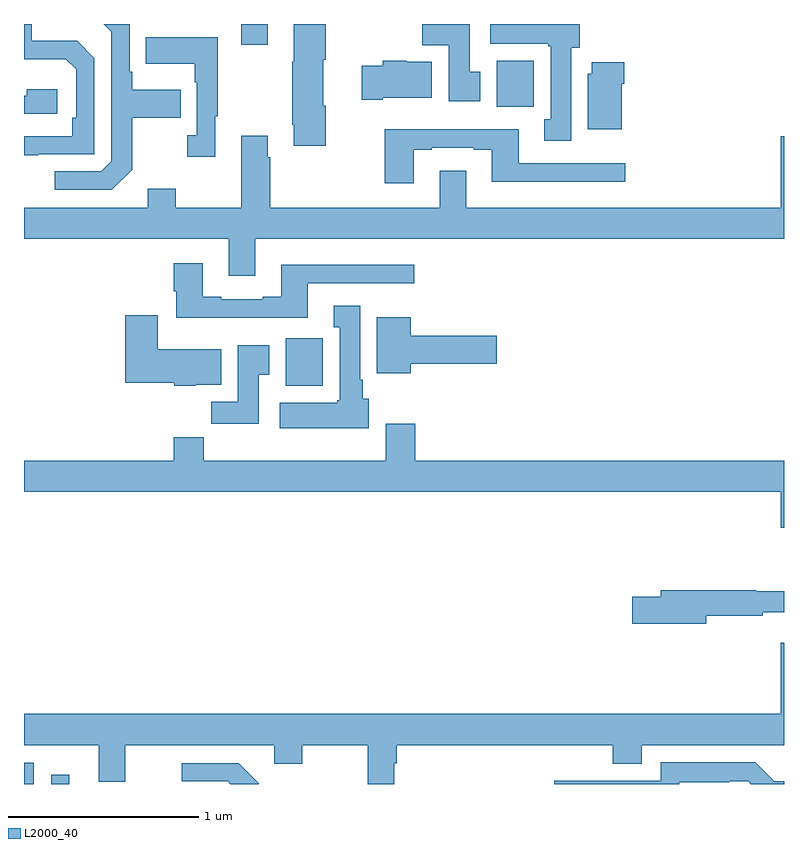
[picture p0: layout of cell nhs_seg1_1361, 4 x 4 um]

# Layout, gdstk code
import gdstk
lib = gdstk.Library(unit=1e-6, precision=1e-09)
def R(c, l, rs):  # rectangles x0, y0, x1, y1
    for r in rs: c.add(gdstk.rectangle(r[:2], r[2:], *l))
def P(c, l, *ps):  # polygons
    for p in ps: c.add(gdstk.Polygon(p, *l))
L2000_40 = (2000, 40)

nhs_seg1_1361 = lib.new_cell('nhs_seg1_1361')
R(nhs_seg1_1361, L2000_40, [(185,546.199,185.052,546.312), (185.143,546.199,185.239,546.247), (186.377,548.294,186.573,548.545), (187.487,549.764,187.684,550.006), (186.143,550.089,186.283,550.199)])
P(nhs_seg1_1361, L2000_40, [(187.879,550.074),(187.924,550.074),(187.924,550.199),(187.455,550.199),(187.455,550.094),(187.759,550.094),(187.759,550.081),(187.772,550.081),(187.772,549.698),(187.739,549.698),(187.739,549.585),(187.879,549.585)],
  [(185.569,549.433),(185.569,549.706),(185.825,549.706),(185.825,549.853),(185.569,549.853),(185.569,549.949),(185.556,549.949),(185.556,550.199),(185.419,550.199),(185.46,550.158),(185.46,549.477),(185.406,549.423),(185.163,549.423),(185.163,549.327),(185.463,549.327)],
  [(187.402,549.948),(187.345,549.948),(187.345,550.199),(187.096,550.199),(187.096,550.088),(187.235,550.088),(187.235,549.792),(187.402,549.792)],
  [(185.075,549.513),(185.37,549.513),(185.37,550.02),(185.28,550.11),(185.04,550.11),(185.04,550.199),(185,550.199),(185,550.013),(185.221,550.013),(185.274,549.96),(185.274,549.706),(185.254,549.706),(185.254,549.609),(185,549.609),(185,549.508),(185.075,549.508)],
  [(186.587,549.77),(186.574,549.77),(186.574,550.012),(186.587,550.012),(186.587,550.199),(186.419,550.199),(186.419,550.001),(186.412,550.001),(186.412,549.67),(186.419,549.67),(186.419,549.558),(186.587,549.558)],
  [(186.007,549.713),(186.019,549.713),(186.019,550.129),(185.641,550.129),(185.641,549.989),(185.898,549.989),(185.898,549.893),(185.91,549.893),(185.91,549.614),(185.859,549.614),(185.859,549.501),(186.007,549.501)],
  [(186.889,549.812),(187.147,549.812),(187.147,550),(187.014,550),(187.014,550.006),(186.889,550.006),(186.889,549.978),(186.777,549.978),(186.777,549.8),(186.889,549.8)],
  [(188.146,549.884),(188.159,549.884),(188.159,549.997),(187.988,549.997),(187.988,549.936),(187.967,549.936),(187.967,549.644),(188.146,549.644)],
  [(185.176,549.856),(185.015,549.856),(185.015,549.822),(185,549.822),(185,549.726),(185.176,549.726)],
  [(187.051,549.537),(187.147,549.537),(187.147,549.549),(187.367,549.549),(187.367,549.537),(187.463,549.537),(187.463,549.368),(188.164,549.368),(188.164,549.465),(187.603,549.465),(187.603,549.646),(186.899,549.646),(186.899,549.36),(187.051,549.36)],
  [(186.217,549.068),(189,549.068),(189,549.607),(188.984,549.607),(188.984,549.232),(187.327,549.232),(187.327,549.427),(187.187,549.427),(187.187,549.232),(186.296,549.232),(186.296,549.497),(186.283,549.497),(186.283,549.61),(186.143,549.61),(186.143,549.232),(185.799,549.232),(185.799,549.331),(185.651,549.331),(185.651,549.232),(185,549.232),(185,549.068),(186.077,549.068),(186.077,548.874),(186.217,548.874)],
  [(186.493,548.835),(187.054,548.835),(187.054,548.932),(186.353,548.932),(186.353,548.764),(186.257,548.764),(186.257,548.751),(186.037,548.751),(186.037,548.764),(185.941,548.764),(185.941,548.941),(185.789,548.941),(185.789,548.793),(185.801,548.793),(185.801,548.654),(186.493,548.654)],
  [(186.814,548.226),(186.784,548.226),(186.784,548.326),(186.769,548.326),(186.769,548.716),(186.629,548.716),(186.629,548.603),(186.662,548.603),(186.662,548.22),(186.649,548.22),(186.649,548.206),(186.345,548.206),(186.345,548.072),(186.814,548.072)],
  [(185.904,548.3),(186.037,548.3),(186.037,548.488),(185.704,548.488),(185.704,548.665),(185.534,548.665),(185.534,548.312),(185.79,548.312),(185.79,548.294),(185.904,548.294)],
  [(187.036,548.411),(187.489,548.411),(187.489,548.558),(187.036,548.558),(187.036,548.656),(186.857,548.656),(186.857,548.36),(187.036,548.36)],
  [(186.235,548.353),(186.292,548.353),(186.292,548.509),(186.125,548.509),(186.125,548.212),(185.986,548.212),(185.986,548.094),(186.235,548.094)],
  [(189,547.9),(187.058,547.9),(187.058,548.095),(186.905,548.095),(186.905,547.9),(185.945,547.9),(185.945,548.024),(185.789,548.024),(185.789,547.9),(185,547.9),(185,547.736),(188.984,547.736),(188.984,547.548),(189,547.548)],
  [(188.59,547.084),(188.888,547.084),(188.888,547.103),(189,547.103),(189,547.213),(188.855,547.213),(188.855,547.22),(188.351,547.22),(188.351,547.184),(188.202,547.184),(188.202,547.042),(188.59,547.042)],
  [(186.949,546.308),(186.962,546.308),(186.962,546.404),(188.099,546.404),(188.099,546.305),(188.251,546.305),(188.251,546.404),(189,546.404),(189,546.943),(188.984,546.943),(188.984,546.568),(185,546.568),(185,546.404),(185.393,546.404),(185.393,546.21),(185.533,546.21),(185.533,546.404),(186.317,546.404),(186.317,546.305),(186.465,546.305),(186.465,546.404),(186.809,546.404),(186.809,546.199),(186.949,546.199)],
  [(188.448,546.209),(188.711,546.209),(188.711,546.213),(188.811,546.213),(188.825,546.199),(189,546.199),(189,546.213),(188.949,546.213),(188.849,546.313),(188.352,546.313),(188.352,546.216),(187.791,546.216),(187.791,546.199),(188.448,546.199)],
  [(186.235,546.203),(186.129,546.309),(185.829,546.309),(185.829,546.213),(186.072,546.213),(186.086,546.199),(186.235,546.199)])

lib.write_gds('nhs_seg1_1361.gds')
